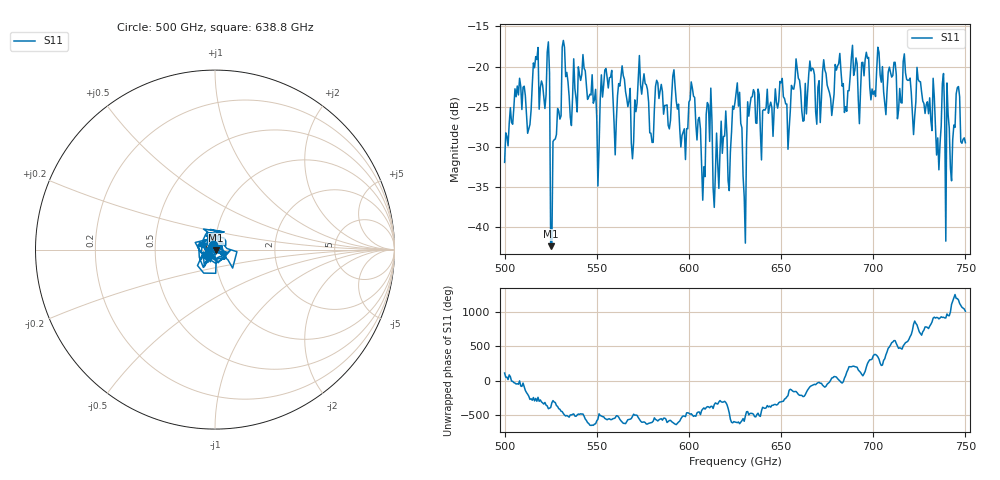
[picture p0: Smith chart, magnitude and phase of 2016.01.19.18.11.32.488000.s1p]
!Created with skrf (http://scikit-rf.org).
# GHz S RI R 50.0
!freq ReS11 ImS11
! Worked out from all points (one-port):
!   401 points, 500 GHz to 750 GHz, reference 50 ohm
!   lowest |S11| = -42.3 dB at 525 GHz (marker M1), VSWR 1.02, Z = 50.7 - j0.375 ohm
!   |S11| at or under -10 dB: start of sweep to end of sweep
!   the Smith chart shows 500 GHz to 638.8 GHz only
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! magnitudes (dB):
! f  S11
! 500 GHz  -31.9
! 506.9 GHz  -22.4
! 513.1 GHz  -27.7
! 516.9 GHz  -18.8
! 523.1 GHz  -18.2
! 525 GHz  -42.3
! 526.2 GHz  -29.3
! 531.2 GHz  -17.6
! 543.1 GHz  -20.2
! 550 GHz  -26.4
! 562.5 GHz  -22.4
! 570 GHz  -29.4
! 574.4 GHz  -23.4
! 580 GHz  -29.4
! 583.1 GHz  -22.0
! 593.8 GHz  -25.3
! 596.9 GHz  -28.2
! 601.9 GHz  -22.7
! 607.5 GHz  -36.6
! 611.2 GHz  -29.3
! 615 GHz  -28.3
! 625 GHz  -24.4
! 630 GHz  -36.2
! 634.4 GHz  -23.8
! 656.2 GHz  -22.8
! 687.5 GHz  -21.2
! 718.8 GHz  -21.7
! 750 GHz  -29.5
